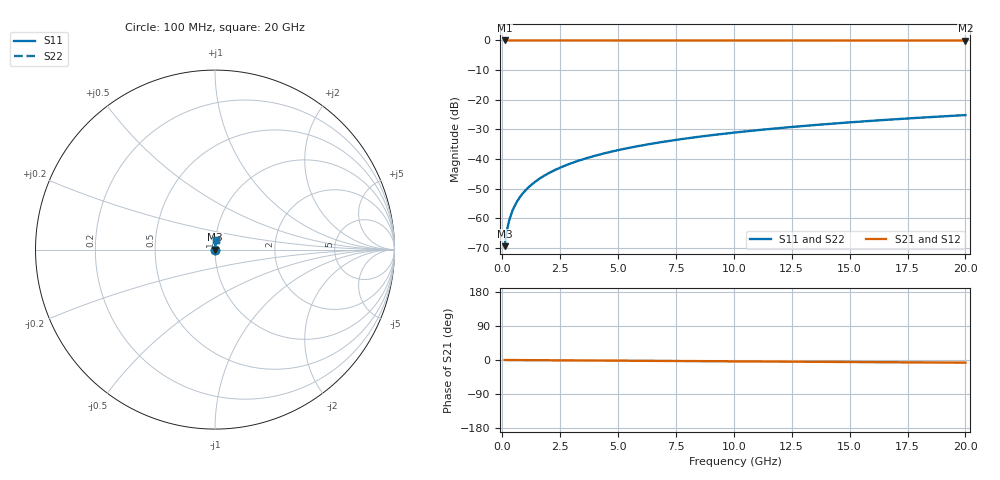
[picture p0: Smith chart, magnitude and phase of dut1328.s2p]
! Touchstone file exported from HFSS 2026.1.0
!  File:  C:/ffzhzh/LocalFiles/Ansys_Project_Files/temp_train_TSV_1328_1783195308_51560.aedt
!  Generated:  04:03:33 AM Jul  5, 2026
!  Design:  TSV
!  Project:  temp_train_TSV_1328_1783195308_51560
! Variables:
!  h_bsmrdl = 2um
!  h_ox = 20um
!  h_rdl = 5um
!  h_sub = 54.24um
!  h_tmrdl = 5um
!  h_tsv = 54.24um
!  h_via = 3um
!  l_bsmrdl = 300um
!  l_sub = 415.08um
!  l_tmrdl = 200um
!  m_sub = 200um
!  pitch = 56.62um
!  r_tsv = 7.54um
!  s_tmrdl = 10um
!  w_bsmrdl = 18um
!  w_sub = 500um
!  w_tmrdl = 12um
!  x_tsv_center1 = 206um
!  x_tsv_center2 = 524um
!  x_tsv_center3 = 736um
!  x_tsv_center4 = 1054um
!  x_tsv_center5 = 1266um
!  x_tsv_center6 = 1584um
# GHz S MA R 50.000000
! Terminal data exported
! Port[1] = TSV1_1_T1
! Port[2] = TSV1_1_T2
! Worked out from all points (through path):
!   200 points, 100 MHz to 20 GHz, reference 50 ohm
!   highest |S21| = 0.00 dB at 100 MHz (marker M1); lowest = 0.0 dB at 20 GHz (marker M2)
!   lowest |S11| = -69.4 dB at 100 MHz (marker M3), VSWR 1.00, Z = 50 + j0.0308 ohm
!   |S11| at or under -10 dB: start of sweep to end of sweep
!   |S22| runs from -69.4 to -25.2 dB; largest |S21 - S12| = 5.5e-15
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0.1  0.0003402 65.0  0.9999 -0.0  0.9999 -0.0  0.0003402 65.0
! Gamma 0 0 0 0
! Port Impedance 50 0 50 0
0.2  0.0006333 76.1  0.9998 -0.1  0.9998 -0.1  0.0006333 76.1
0.3  0.0009329 79.8  0.9998 -0.1  0.9998 -0.1  0.0009329 79.8
0.4  0.001231 81.5  0.9998 -0.1  0.9998 -0.1  0.001231 81.5
0.5  0.001526 82.5  0.9998 -0.2  0.9998 -0.2  0.001526 82.5
0.6  0.001819 83.1  0.9998 -0.2  0.9998 -0.2  0.001819 83.1
0.7  0.002108 83.6  0.9998 -0.3  0.9998 -0.3  0.002108 83.6
0.8  0.002395 83.9  0.9998 -0.3  0.9998 -0.3  0.002395 83.9
1  0.002964 84.4  0.9997 -0.4  0.9997 -0.4  0.002964 84.4
1.4  0.004092 85.1  0.9997 -0.5  0.9997 -0.5  0.004092 85.1
1.7  0.004934 85.5  0.9996 -0.6  0.9996 -0.6  0.004934 85.5
2  0.005776 85.7  0.9996 -0.7  0.9996 -0.7  0.005776 85.7
2.7  0.007738 86.0  0.9996 -1.0  0.9996 -1.0  0.007738 86.0
3.5  0.009975 86.1  0.9995 -1.2  0.9995 -1.2  0.009975 86.1
4.2  0.01193 86.1  0.9994 -1.5  0.9994 -1.5  0.01193 86.1
5  0.01415 86.0  0.9993 -1.8  0.9993 -1.8  0.01415 86.0
6.8  0.01913 85.7  0.9992 -2.4  0.9992 -2.4  0.01913 85.7
8.3  0.02326 85.3  0.999 -2.9  0.999 -2.9  0.02326 85.3
10.1  0.0282 84.8  0.9988 -3.6  0.9988 -3.6  0.0282 84.8
13.4  0.03723 83.9  0.9984 -4.7  0.9984 -4.7  0.03723 83.9
16.7  0.04622 82.9  0.9979 -5.9  0.9979 -5.9  0.04622 82.9
20  0.05516 81.8  0.9974 -7.0  0.9974 -7.0  0.05516 81.8
